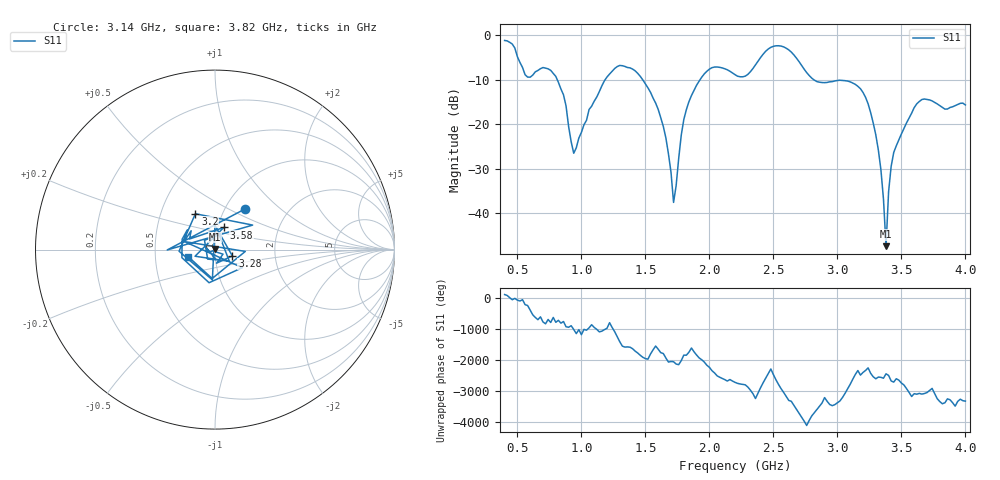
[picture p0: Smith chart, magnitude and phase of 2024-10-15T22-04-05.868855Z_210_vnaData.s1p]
! Created with skrf (http://scikit-rf.org).
# Hz S RI R 50.0
!freq ReS11 ImS11
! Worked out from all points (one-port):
!   181 points, 400 MHz to 4 GHz, reference 50 ohm
!   lowest |S11| = -47.4 dB at 3.38 GHz (marker M1), VSWR 1.01, Z = 50.1 + j0.416 ohm
!   |S11| at or under -10 dB: 811.1 MHz to 1.186 GHz (374.4 MHz wide, 37.5 % of centre); 1.478 GHz to 1.927 GHz (448.7 MHz wide, 26.3 % of centre); 2.815 GHz to end of sweep
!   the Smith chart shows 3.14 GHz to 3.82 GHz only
!   S11 on the Smith chart (normalised r, x): 3.14 GHz: 1.23, +0.60; 3.2 GHz: 0.75, +0.31; 3.28 GHz: 1.21, -0.09; 3.58 GHz: 1.07, +0.27; 3.82 GHz: 0.74, -0.06
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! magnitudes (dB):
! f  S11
! 400 MHz  -1.2
! 560 MHz  -8.9
! 740 MHz  -7.6
! 860 MHz  -13.4
! 940 MHz  -26.5
! 1.06 GHz  -16.7
! 1.3 GHz  -6.8
! 1.6 GHz  -16.7
! 1.66 GHz  -23.1
! 1.72 GHz  -37.5
! 1.76 GHz  -27.7
! 1.82 GHz  -16.7
! 1.94 GHz  -9.4
! 2.2 GHz  -8.9
! 2.5 GHz  -2.5
! 2.66 GHz  -4.4
! 2.84 GHz  -10.4
! 3.1 GHz  -10.5
! 3.14 GHz  -11.1
! 3.2 GHz  -12.9
! 3.28 GHz  -19.7
! 3.34 GHz  -30.2
! 3.38 GHz  -47.4
! 3.42 GHz  -29.5
! 3.56 GHz  -18.6
! 3.58 GHz  -17.5
! 3.82 GHz  -16.2
! 4 GHz  -15.7
